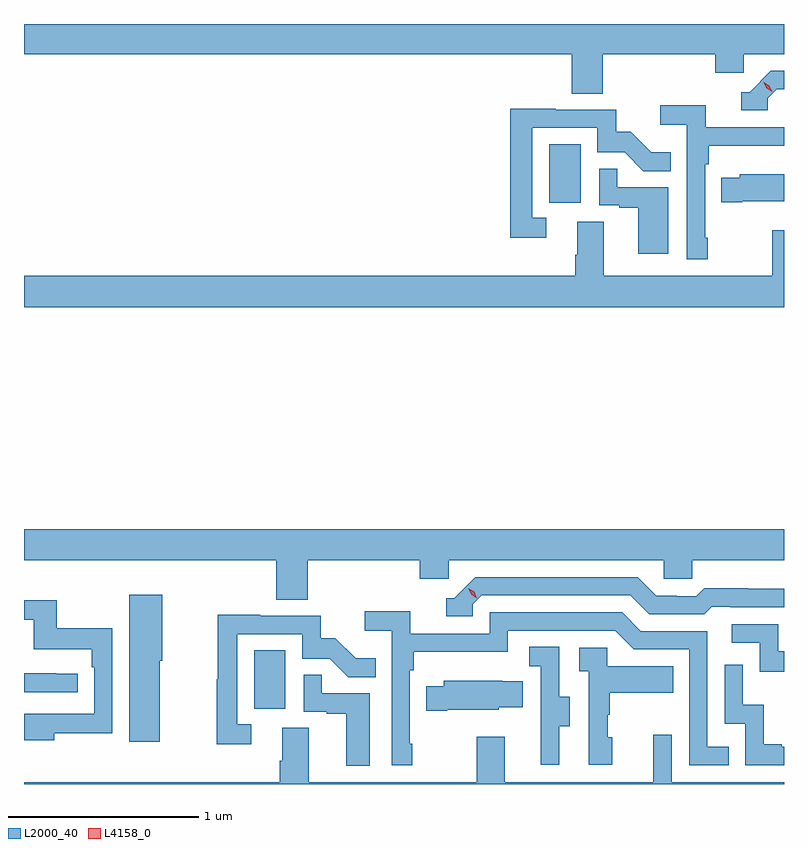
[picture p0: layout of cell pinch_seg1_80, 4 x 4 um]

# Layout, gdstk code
import gdstk
lib = gdstk.Library(unit=1e-6, precision=1e-09)
def R(c, l, rs):  # rectangles x0, y0, x1, y1
    for r in rs: c.add(gdstk.rectangle(r[:2], r[2:], *l))
def P(c, l, *ps):  # polygons
    for p in ps: c.add(gdstk.Polygon(p, *l))
L2000_40 = (2000, 40)
L4158_0 = (4158, 0)

pinch_seg1_80 = lib.new_cell('pinch_seg1_80')
R(pinch_seg1_80, L2000_40, [(1072.634,577.59,1072.798,577.897), (1074.188,580.254,1074.352,580.561)])
P(pinch_seg1_80, L2000_40, [(1074.47,581.036),(1075.061,581.036),(1075.061,580.938),(1075.212,580.938),(1075.212,581.036),(1075.423,581.036),(1075.423,581.194),(1071.423,581.194),(1071.423,581.036),(1074.305,581.036),(1074.305,580.828),(1074.47,580.828)],
  [(1075.338,580.803),(1075.386,580.851),(1075.423,580.851),(1075.423,580.947),(1075.353,580.947),(1075.242,580.836),(1075.199,580.836),(1075.199,580.74),(1075.338,580.74)],
  [(1075.021,580.069),(1075.008,580.069),(1075.008,580.457),(1075.028,580.457),(1075.028,580.553),(1075.423,580.553),(1075.423,580.65),(1075.01,580.65),(1075.01,580.766),(1074.771,580.766),(1074.771,580.664),(1074.912,580.664),(1074.912,579.957),(1075.021,579.957)],
  [(1074.172,580.173),(1074.099,580.173),(1074.099,580.647),(1074.441,580.647),(1074.441,580.518),(1074.585,580.518),(1074.683,580.42),(1074.827,580.42),(1074.827,580.519),(1074.723,580.519),(1074.616,580.626),(1074.54,580.626),(1074.54,580.743),(1074.221,580.743),(1074.221,580.748),(1073.983,580.748),(1073.983,580.068),(1074.172,580.068)],
  [(1074.814,580.335),(1074.545,580.335),(1074.545,580.433),(1074.45,580.433),(1074.45,580.239),(1074.557,580.239),(1074.557,580.227),(1074.656,580.227),(1074.656,579.984),(1074.814,579.984)],
  [(1075.204,580.262),(1075.423,580.262),(1075.423,580.402),(1075.191,580.402),(1075.191,580.384),(1075.093,580.384),(1075.093,580.255),(1075.204,580.255)],
  [(1075.423,580.108),(1075.36,580.108),(1075.36,579.868),(1074.475,579.868),(1074.475,580.154),(1074.335,580.154),(1074.335,579.98),(1074.323,579.98),(1074.323,579.868),(1071.423,579.868),(1071.423,579.704),(1075.423,579.704)],
  [(1072.916,578.372),(1073.507,578.372),(1073.507,578.274),(1073.658,578.274),(1073.658,578.372),(1074.789,578.372),(1074.789,578.274),(1074.939,578.274),(1074.939,578.372),(1075.423,578.372),(1075.423,578.536),(1071.423,578.536),(1071.423,578.372),(1072.751,578.372),(1072.751,578.164),(1072.916,578.164)],
  [(1073.784,578.139),(1073.832,578.187),(1074.615,578.187),(1074.714,578.088),(1075.003,578.088),(1075.042,578.127),(1075.141,578.127),(1075.141,578.124),(1075.423,578.124),(1075.423,578.221),(1075.236,578.221),(1075.236,578.224),(1075.003,578.224),(1074.961,578.181),(1074.858,578.181),(1074.858,578.184),(1074.751,578.184),(1074.652,578.283),(1073.799,578.283),(1073.688,578.172),(1073.645,578.172),(1073.645,578.076),(1073.784,578.076)],
  [(1072.138,577.842),(1072.15,577.842),(1072.15,578.191),(1071.977,578.191),(1071.977,577.416),(1072.138,577.416)],
  [(1071.583,577.462),(1071.888,577.462),(1071.888,578.014),(1071.595,578.014),(1071.595,578.16),(1071.423,578.16),(1071.423,578.059),(1071.474,578.059),(1071.474,577.904),(1071.779,577.904),(1071.779,577.808),(1071.792,577.808),(1071.792,577.563),(1071.479,577.563),(1071.479,577.564),(1071.423,577.564),(1071.423,577.424),(1071.583,577.424)],
  [(1073.467,577.405),(1073.454,577.405),(1073.454,577.793),(1073.474,577.793),(1073.474,577.889),(1073.97,577.889),(1073.97,578.001),(1074.534,578.001),(1074.633,577.902),(1074.924,577.902),(1074.924,577.293),(1075.133,577.293),(1075.133,577.389),(1075.02,577.389),(1075.02,577.998),(1074.67,577.998),(1074.571,578.097),(1073.874,578.097),(1073.874,577.986),(1073.456,577.986),(1073.456,578.102),(1073.217,578.102),(1073.217,578),(1073.358,578),(1073.358,577.293),(1073.467,577.293)],
  [(1072.618,577.509),(1072.545,577.509),(1072.545,577.983),(1072.887,577.983),(1072.887,577.854),(1073.032,577.854),(1073.13,577.756),(1073.273,577.756),(1073.273,577.855),(1073.169,577.855),(1073.062,577.962),(1072.986,577.962),(1072.986,578.079),(1072.667,578.079),(1072.667,578.084),(1072.444,578.084),(1072.444,577.746),(1072.437,577.746),(1072.437,577.404),(1072.618,577.404)],
  [(1075.423,577.893),(1075.392,577.893),(1075.392,578.034),(1075.149,578.034),(1075.149,577.938),(1075.296,577.938),(1075.296,577.785),(1075.423,577.785)],
  [(1074.241,577.498),(1074.295,577.498),(1074.295,577.653),(1074.24,577.653),(1074.24,577.916),(1074.081,577.916),(1074.081,577.813),(1074.144,577.813),(1074.144,577.509),(1074.143,577.509),(1074.143,577.296),(1074.241,577.296)],
  [(1074.52,577.44),(1074.495,577.44),(1074.495,577.559),(1074.505,577.559),(1074.505,577.673),(1074.839,577.673),(1074.839,577.813),(1074.492,577.813),(1074.492,577.911),(1074.345,577.911),(1074.345,577.787),(1074.396,577.787),(1074.396,577.296),(1074.52,577.296)],
  [(1075.423,577.389),(1075.411,577.389),(1075.411,577.402),(1075.316,577.402),(1075.316,577.61),(1075.206,577.61),(1075.206,577.822),(1075.11,577.822),(1075.11,577.512),(1075.218,577.512),(1075.218,577.293),(1075.423,577.293)],
  [(1071.706,577.773),(1071.593,577.773),(1071.593,577.778),(1071.423,577.778),(1071.423,577.677),(1071.706,577.677)],
  [(1073.242,577.671),(1072.991,577.671),(1072.991,577.769),(1072.896,577.769),(1072.896,577.575),(1073.017,577.575),(1073.017,577.563),(1073.12,577.563),(1073.12,577.289),(1073.242,577.289)],
  [(1073.65,577.586),(1073.922,577.586),(1073.922,577.598),(1074.047,577.598),(1074.047,577.735),(1073.939,577.735),(1073.939,577.738),(1073.633,577.738),(1073.633,577.708),(1073.539,577.708),(1073.539,577.579),(1073.65,577.579)],
  [(1073.806,577.444),(1073.806,577.204),(1072.921,577.204),(1072.921,577.49),(1072.781,577.49),(1072.781,577.316),(1072.769,577.316),(1072.769,577.204),(1071.423,577.204),(1071.423,577.194),(1075.423,577.194),(1075.423,577.204),(1074.831,577.204),(1074.831,577.453),(1074.734,577.453),(1074.734,577.204),(1073.953,577.204),(1073.953,577.444)])
P(pinch_seg1_80, L4158_0, [(1073.807,578.172),(1073.776,578.192),(1073.761,578.225),(1073.761,578.225),(1073.761,578.225),(1073.792,578.205),(1073.807,578.172),(1073.807,578.172)],
  [(1075.362,580.837),(1075.331,580.856),(1075.315,580.889),(1075.315,580.889),(1075.315,580.889),(1075.346,580.87),(1075.362,580.837),(1075.362,580.837)])

lib.write_gds('pinch_seg1_80.gds')
